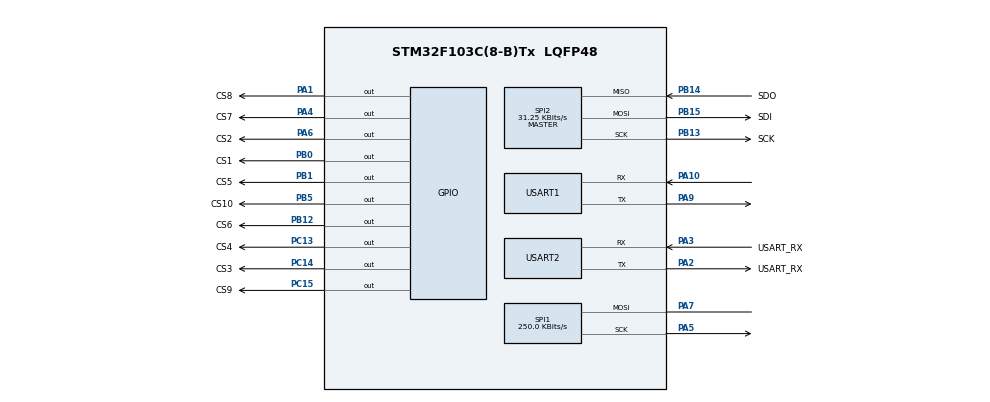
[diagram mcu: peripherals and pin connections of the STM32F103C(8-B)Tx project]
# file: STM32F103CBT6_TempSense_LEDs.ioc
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Mcu.Family=STM32F1
Mcu.Name=STM32F103C(8-B)Tx
Mcu.Package=LQFP48
NVIC.PriorityGroup=NVIC_PRIORITYGROUP_4
PA1.GPIO_Label=CS8
PA1.Signal=GPIO_Output
PA10.Mode=Asynchronous
PA10.Signal=USART1_RX
PA13.Mode=Serial_Wire
PA13.Signal=SYS_JTMS-SWDIO
PA14.Mode=Serial_Wire
PA14.Signal=SYS_JTCK-SWCLK
PA2.GPIO_Label=USART_RX
PA2.Mode=Asynchronous
PA2.Signal=USART2_TX
PA3.GPIO_Label=USART_RX
PA3.Mode=Asynchronous
PA3.Signal=USART2_RX
PA4.GPIO_Label=CS7
PA4.Signal=GPIO_Output
PA5.Mode=Simplex_Bidirectional_Master
PA5.Signal=SPI1_SCK
PA6.GPIO_Label=CS2
PA6.Signal=GPIO_Output
PA7.Mode=Simplex_Bidirectional_Master
PA7.Signal=SPI1_MOSI
PA9.Mode=Asynchronous
PA9.Signal=USART1_TX
PB0.GPIO_Label=CS1
PB0.Signal=GPIO_Output
PB1.GPIO_Label=CS5
PB1.Signal=GPIO_Output
PB12.GPIO_Label=CS6
PB12.Signal=GPIO_Output
PB13.GPIO_Label=SCK
PB13.Mode=Full_Duplex_Master
PB13.Signal=SPI2_SCK
PB14.GPIO_Label=SDO
PB14.Mode=Full_Duplex_Master
PB14.Signal=SPI2_MISO
PB15.GPIO_Label=SDI
PB15.Mode=Full_Duplex_Master
PB15.Signal=SPI2_MOSI
PB5.GPIO_Label=CS10
PB5.Signal=GPIO_Output
PC13-TAMPER-RTC.GPIO_Label=CS4
PC13-TAMPER-RTC.Signal=GPIO_Output
PC14-OSC32_IN.GPIO_Label=CS3
PC14-OSC32_IN.Signal=GPIO_Output
PC15-OSC32_OUT.GPIO_Label=CS9
PC15-OSC32_OUT.Signal=GPIO_Output
ProjectManager.HeapSize=0x200
ProjectManager.StackSize=0x400
ProjectManager.TargetToolchain=MDK-ARM V5
RCC.APB1Freq_Value=8000000
RCC.APB2Freq_Value=8000000
SPI1.BaudRatePrescaler=SPI_BAUDRATEPRESCALER_32
SPI1.CLKPhase=SPI_PHASE_2EDGE
SPI1.CLKPolarity=SPI_POLARITY_HIGH
SPI1.CalculateBaudRate=250.0 KBits/s
SPI1.Direction=SPI_DIRECTION_1LINE
SPI1.Mode=SPI_MODE_MASTER
SPI1.VirtualType=VM_MASTER
SPI2.BaudRatePrescaler=SPI_BAUDRATEPRESCALER_256
SPI2.CLKPhase=SPI_PHASE_2EDGE
SPI2.CLKPolarity=SPI_POLARITY_HIGH
SPI2.CalculateBaudRate=31.25 KBits/s
SPI2.Direction=SPI_DIRECTION_2LINES
SPI2.Mode=SPI_MODE_MASTER
SPI2.VirtualType=VM_MASTER
USART1.VirtualMode=VM_ASYNC
USART2.VirtualMode=VM_ASYNC
board=STM32F103CBT6_TempSense_LEDs

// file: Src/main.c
/**
  ******************************************************************************
  * File Name          : main.c
  * Description        : Main program body
  ******************************************************************************
  ** This notice applies to any and all portions of this file
  * that are not between comment pairs USER CODE BEGIN and
  * USER CODE END. Other portions of this file, whether
  * inserted by the user or by software development tools
  * are owned by their respective copyright owners.
  *
  * COPYRIGHT(c) 2017 STMicroelectronics
  *
  * Redistribution and use in source and binary forms, with or without modification,
  * are permitted provided that the following conditions are met:
  *   1. Redistributions of source code must retain the above copyright notice,
  *      this list of conditions and the following disclaimer.
  *   2. Redistributions in binary form must reproduce the above copyright notice,
  *      this list of conditions and the following disclaimer in the documentation
  *      and/or other materials provided with the distribution.
  *   3. Neither the name of STMicroelectronics nor the names of its contributors
  *      may be used to endorse or promote products derived from this software
  *      without specific prior written permission.
  *
  * THIS SOFTWARE IS PROVIDED BY THE COPYRIGHT HOLDERS AND CONTRIBUTORS "AS IS"
  * AND ANY EXPRESS OR IMPLIED WARRANTIES, INCLUDING, BUT NOT LIMITED TO, THE
  * IMPLIED WARRANTIES OF MERCHANTABILITY AND FITNESS FOR A PARTICULAR PURPOSE ARE
  * DISCLAIMED. IN NO EVENT SHALL THE COPYRIGHT HOLDER OR CONTRIBUTORS BE LIABLE
  * FOR ANY DIRECT, INDIRECT, INCIDENTAL, SPECIAL, EXEMPLARY, OR CONSEQUENTIAL
  * DAMAGES (INCLUDING, BUT NOT LIMITED TO, PROCUREMENT OF SUBSTITUTE GOODS OR
  * SERVICES; LOSS OF USE, DATA, OR PROFITS; OR BUSINESS INTERRUPTION) HOWEVER
  * CAUSED AND ON ANY THEORY OF LIABILITY, WHETHER IN CONTRACT, STRICT LIABILITY,
  * OR TORT (INCLUDING NEGLIGENCE OR OTHERWISE) ARISING IN ANY WAY OUT OF THE USE
  * OF THIS SOFTWARE, EVEN IF ADVISED OF THE POSSIBILITY OF SUCH DAMAGE.
  *
  ******************************************************************************
  */
#include "main.h"
#include "stm32f1xx_hal.h"
#include "string.h"
#include <math.h>

/* USER CODE BEGIN Includes */

#define LEDred_GPIO_CLK_ENABLE()           __HAL_RCC_GPIOA_CLK_ENABLE()

/* USER CODE BEGIN Includes */
/* Macros to enable & disable CS pin */
//#define CS_ENABLE		do { HAL_GPIO_WritePin(GPIOA, GPIO_PIN_10, GPIO_PIN_RESET); } while(0);
//#define CS_DISABLE		do { HAL_GPIO_WritePin(GPIOA, GPIO_PIN_10, GPIO_PIN_SET); } while(0);

/* SPI TIMEOUT Value*/
#define TIMEOUT_VAL 60

// The value of the Rref resistor in Ohm
#define RREF 470000
//#define RREF 15000

/* Read Register Address */
#define REG_CONFIG                  0x00
#define REG_RTD_MSB                 0x01
#define REG_RTD_LSB                 0x02
#define REG_HIGH_FAULT_THR_MSB      0x03
#define REG_HIGH_FAULT_THR_LSB      0x04
#define REG_LOW_FAULT_THR_MSB       0x05
#define REG_LOW_FAULT_THR_LSB       0x06
#define REG_FAULT_STATUS            0x07
#define WR(reg)                     ( (reg) | 0x80 )
/* USER CODE END Includes */

SPI_HandleTypeDef hspi1;
SPI_HandleTypeDef hspi2;

UART_HandleTypeDef huart1;
UART_HandleTypeDef huart2;

/* USER CODE BEGIN PV */
/* Private variables ---------------------------------------------------------*/
struct __attribute__((packed)) var_max31865
{
  uint16_t rtd_res_raw;			// RTD IC raw resistance register
  uint8_t  status;					// RTD status - full status code
  uint8_t  conf_reg;				// Configuration register readout
  uint16_t  HFT_val;				// High fault threshold register readout
  uint16_t  LFT_val;				// Low fault threshold register readout
};

struct var_max31865 rtd_data;
uint8_t read_addr = 0x00; //Read address of Configuration register

/*variables of resistance and temperature*/
double resistanceRTD;
double tmp;

/*register to initiate SPI*/
uint8_t config_reg_write[] = {WR(REG_CONFIG), 0xC2};

/*arrays to print values in for resistance and temperature*/
char Rrtd[30]; //array to print RTD resistance
char Trtd[30]; //array to print RTD temperature
char Stop[30]; //indicates all is read
char SlaveOutput[80]; //bits from SPI slave

/*ChipSelect pins and ports*/
GPIO_TypeDef* CS_GPIO_Port[10]={CS1_GPIO_Port, CS2_GPIO_Port,CS3_GPIO_Port,CS4_GPIO_Port,CS5_GPIO_Port,CS6_GPIO_Port,CS7_GPIO_Port,CS8_GPIO_Port,CS9_GPIO_Port,CS10_GPIO_Port};
uint16_t CS_Pin[10]={CS1_Pin,CS2_Pin,CS3_Pin,CS4_Pin,CS5_Pin,CS6_Pin,CS7_Pin,CS8_Pin,CS9_Pin,CS10_Pin};

/*SPI LEDs*/
uint8_t lightAllLeds [28] ={0x96, 0xDF, 0xFF, 0xFF, 0x20, 0xFF, 0x20, 0xFF, 0x20, 0xFF, 0x20, 0xFF, 0x20, 0xFF, 0x20, 0xFF, 0x20, 0xFF, 0x20, 0xFF, 0x20, 0xFF, 0x20, 0xFF, 0x20, 0xFF,0x20,0xFF};
uint8_t lightNoLeds [28] ={0x96, 0xDF, 0xFF, 0xFF,0,0,0,0,0,0,0,0,0,0,0,0,0,0,0,0,0,0,0,0,0,0,0,0};
uint8_t LEDinit [28];// ={0x96, 0xDF, 0xFF, 0xFF,0,0,0,0,0,0,0,0,0,0,0,0,0,0,0,0,0,0,0,0,0,0,0,0};

		char MSG[30];
		char debug[30];
/* USER CODE END PV */

void SystemClock_Config(void);
static void MX_GPIO_Init(void);
static void MX_SPI2_Init(void);
static void MX_USART2_UART_Init(void);
static void MX_SPI1_Init(void);
static void MX_USART1_UART_Init(void);
static GPIO_InitTypeDef  GPIO_InitStruct;
void debug_array(uint8_t *LEDinit);

/* USER CODE BEGIN PFP */
/* Private function prototypes -----------------------------------------------*/
void CS_ENABLE(GPIO_TypeDef* CS_GPIO_Port, uint16_t CS_Pin);
void CS_DISABLE(GPIO_TypeDef* CS_GPIO_Port, uint16_t CS_Pin);
void configureSPI(GPIO_TypeDef* CS_GPIO_Port, uint16_t CS_Pin);
void MAX31865_full_read(GPIO_TypeDef* CS_GPIO_Port, uint16_t CS_Pin, int LED, uint8_t *LEDinit);

/* USER CODE END PFP */

/* USER CODE BEGIN 0 */

/* Functions to en- and disable the CS_Pin from Port and Pin */
void CS_ENABLE(GPIO_TypeDef* CS_GPIO_Port, uint16_t CS_Pin)
{
  HAL_GPIO_WritePin(CS_GPIO_Port, CS_Pin, GPIO_PIN_RESET);
}

void CS_DISABLE(GPIO_TypeDef* CS_GPIO_Port, uint16_t CS_Pin)
{
  HAL_GPIO_WritePin(CS_GPIO_Port, CS_Pin, GPIO_PIN_SET);
}

/* Function to configure and initiate SPI */

void configureSPI(GPIO_TypeDef* CS_GPIO_Port, uint16_t CS_Pin)
{
 /* (1) : SPI Transmit, write to config reg on address 0x80 */
  // Step(1): Bring the CS pin low to activate the slave device
  CS_ENABLE(CS_GPIO_Port, CS_Pin);
  HAL_Delay(10); //This delay is very important in the case of STM32F334 in order to work with MAX31865
  // Step(2): Transmit config reg address  & data
  HAL_SPI_Transmit(&hspi2, &config_reg_write[0], 1, TIMEOUT_VAL);
  HAL_SPI_Transmit(&hspi2, &config_reg_write[1], 1, TIMEOUT_VAL);
  // Step(3): Bring the CS pin high again
  CS_DISABLE(CS_GPIO_Port, CS_Pin);
}

/* Function to unpack and store MAX31865 data */

void MAX31865_full_read(GPIO_TypeDef* CS_GPIO_Port, uint16_t CS_Pin, int LED, uint8_t *LEDinit)
{
	uint8_t read_data[8]={0,0,0,0,0,0,0,0}; //variable to store the contents of the registers
	uint8_t i = 0; //loop variable

	// Step(1): Bring the CS pin low to activate the slave device
	CS_ENABLE(CS_GPIO_Port, CS_Pin);
	// Step(2): Transmit config reg address telling IC that we want to 'read' and start at register 0
		HAL_SPI_Transmit(&hspi2, &read_addr, 1, TIMEOUT_VAL);
	/* Step (3): Receive the first 8 bits (Config reg data) */
	for(i = 0; i < 8; i++)
	{
		HAL_SPI_Receive(&hspi2, &read_data[i], 1, TIMEOUT_VAL);
	}
	// Step(4): Bring the CS pin high again
	CS_DISABLE( CS_GPIO_Port, CS_Pin);
	/* Step (5): Store the data read from the sensor */
	rtd_data.conf_reg = read_data[0]; //Store config reg data
	rtd_data.rtd_res_raw = ((read_data[1] << 8) | read_data[2]) >> 1; // Store rtd_res_raw
	rtd_data.HFT_val = ((read_data[3] << 8) | read_data[4]) >> 1; // Store HFT_val
	rtd_data.LFT_val = (read_data[5] << 8) | read_data[6]; // Store LFT_val
	rtd_data.status = read_data[7]; //Store fault status reg data

	sprintf(SlaveOutput, "\n\r0 %u\n\r1 %u\n\r2 %u\n\r3 %u\n\r4 %u\n\r5 %u\n\r6 %u\n\r7 %u\n\r", read_data[0],read_data[1],read_data[2],read_data[3],read_data[4],read_data[5],read_data[6],read_data[7]);
    HAL_UART_Transmit(&huart1, (uint8_t *)SlaveOutput, 80, TIMEOUT_VAL);

	/*Enable LED if thermistor is connected*/
	LED=9-LED;
	if (rtd_data.status < 128 ||rtd_data.rtd_res_raw < 32767 && rtd_data.rtd_res_raw > 0)
		{
	LEDinit[27-LED*2]= 0xFF;
	LEDinit[26-LED*2]= 0x20;
	HAL_SPI_Transmit(&hspi1, LEDinit, 28, 10);
		}
	else if (rtd_data.status >= 128||rtd_data.rtd_res_raw >= 32767 && rtd_data.rtd_res_raw == 0)
		{
	LEDinit[27-LED*2] = 0;
	LEDinit[26-LED*2] = 0;
	HAL_SPI_Transmit(&hspi1, LEDinit, 28, 10);
		}

  /* calculate RTD resistance */
	//5143.92 as offset for 470k resistor
	    resistanceRTD = /*5143.92+*/((double)rtd_data.rtd_res_raw * RREF) / 32768; // Replace 4000 by 400 for PT100
		sprintf(Rrtd, "\n\r%u: \n\rRrtd = %lf\n\r", CS_Pin, resistanceRTD);
    HAL_UART_Transmit(&huart1, (uint8_t *)Rrtd, 30, TIMEOUT_VAL); // print RTD resistance

		sprintf(Rrtd, "RAW = %lf\n\r", (double)rtd_data.rtd_res_raw);
		HAL_UART_Transmit(&huart1, (uint8_t *)Rrtd, 30, TIMEOUT_VAL); // print RTD resistance

	/* calculate RTD temperature (simple calc, +/- 2 deg C from -100C to 100C) */
    /* CALCULATION OF TEMP MUST BE ADJUSTED TO RTD  */
  //  tmp = ((double)rtd_data.rtd_res_raw / 32) - 256;
	tmp=1/(((log(/*(double)rtd_data.rtd_res_raw*/ resistanceRTD / 10000))/3435)+(1/298.15));
	tmp=tmp-273.15;
	// http://www.giangrandi.ch/electronics/ntc/ntc.shtml
	//http://www.carelparts.com/manuals/ntc-specs.pdf page 8
		sprintf(Trtd, "Trtd = %lf\n\r", tmp);
    HAL_UART_Transmit(&huart1, (uint8_t *)Trtd, 30, TIMEOUT_VAL); // print RTD temperature

	//HAL_Delay(200);
}

/* USER CODE END 0 */

int main(void)
{

  /* MCU Configuration----------------------------------------------------------*/

  /* Reset of all peripherals, Initializes the Flash interface and the Systick. */
  HAL_Init();

  /* Configure the system clock */
  SystemClock_Config();

  /* -1- Enable GPIO Clock (to be able to program the configuration registers) */
  LEDred_GPIO_CLK_ENABLE();

  /* Initialize all configured peripherals */
  MX_GPIO_Init();
  MX_SPI2_Init();
  MX_USART2_UART_Init();
  MX_SPI1_Init();
  MX_USART1_UART_Init();

  /* -2- Configure IO in output push-pull mode to drive external LEDs */
  GPIO_InitStruct.Mode  = GPIO_MODE_OUTPUT_PP;
  GPIO_InitStruct.Pull  = GPIO_PULLUP;
  GPIO_InitStruct.Speed = GPIO_SPEED_FREQ_HIGH;

  GPIO_InitStruct.Pin = GPIO_PIN_0;
  HAL_GPIO_Init(GPIOA, &GPIO_InitStruct);
  /* USER CODE BEGIN 2 */

for(int conf=0;conf< 10;conf++)
	{
	configureSPI(CS_GPIO_Port[conf],CS_Pin[conf]);
	//HAL_Delay(50);

	}
	// give the sensor time to set up
  HAL_Delay(1000);
  /* USER CODE END 2 */

  /* Infinite loop */
  /* USER CODE BEGIN WHILE */
	char *msg = "Initiating Temperature measurement\n\r";

  uint8_t	LEDinit [28] ={0x96, 0xDF, 0xFF, 0xFF,0,0,0,0,0,0,0,0,0,0,0,0,0,0,0,0,0,0,0,0,0,0,0,0};
	HAL_SPI_Transmit(&hspi1, lightAllLeds, 28, 10);

  while (1)
  {
  /* USER CODE END WHILE */
		HAL_UART_Transmit(&huart1, (uint8_t*)msg, strlen(msg), 0xFFFF);

		HAL_GPIO_TogglePin(GPIOA, GPIO_PIN_0);
    HAL_Delay(50);
		HAL_GPIO_TogglePin(GPIOA, GPIO_PIN_0);
		HAL_Delay(50);
		HAL_GPIO_TogglePin(GPIOA, GPIO_PIN_0);
		HAL_Delay(50);
		HAL_GPIO_TogglePin(GPIOA, GPIO_PIN_0);

/* USER CODE BEGIN 3 */
	for(int read= 0;read< 10;read++)
		{
		MAX31865_full_read(CS_GPIO_Port[read],CS_Pin[read],read,LEDinit);

		}
	//HAL_Delay(200);
	sprintf(Stop, "Reading done\n\r");
	HAL_UART_Transmit(&huart1, (uint8_t *)Stop, 30, TIMEOUT_VAL);
	//HAL_Delay(200);
  }
  /* USER CODE END 3 */

}

/** System Clock Configuration
*/
void SystemClock_Config(void)
{

  RCC_OscInitTypeDef RCC_OscInitStruct;
  RCC_ClkInitTypeDef RCC_ClkInitStruct;

    /**Initializes the CPU, AHB and APB busses clocks
    */
  RCC_OscInitStruct.OscillatorType = RCC_OSCILLATORTYPE_HSI;
  RCC_OscInitStruct.HSIState = RCC_HSI_ON;
  RCC_OscInitStruct.HSICalibrationValue = 16;
  RCC_OscInitStruct.PLL.PLLState = RCC_PLL_NONE;
  if (HAL_RCC_OscConfig(&RCC_OscInitStruct) != HAL_OK)
  {
    _Error_Handler(__FILE__, __LINE__);
  }

    /**Initializes the CPU, AHB and APB busses clocks
    */
  RCC_ClkInitStruct.ClockType = RCC_CLOCKTYPE_HCLK|RCC_CLOCKTYPE_SYSCLK
                              |RCC_CLOCKTYPE_PCLK1|RCC_CLOCKTYPE_PCLK2;
  RCC_ClkInitStruct.SYSCLKSource = RCC_SYSCLKSOURCE_HSI;
  RCC_ClkInitStruct.AHBCLKDivider = RCC_SYSCLK_DIV1;
  RCC_ClkInitStruct.APB1CLKDivider = RCC_HCLK_DIV1;
  RCC_ClkInitStruct.APB2CLKDivider = RCC_HCLK_DIV1;

  if (HAL_RCC_ClockConfig(&RCC_ClkInitStruct, FLASH_LATENCY_0) != HAL_OK)
  {
    _Error_Handler(__FILE__, __LINE__);
  }

    /**Configure the Systick interrupt time
    */
  HAL_SYSTICK_Config(HAL_RCC_GetHCLKFreq()/1000);

    /**Configure the Systick
    */
  HAL_SYSTICK_CLKSourceConfig(SYSTICK_CLKSOURCE_HCLK);

  /* SysTick_IRQn interrupt configuration */
  HAL_NVIC_SetPriority(SysTick_IRQn, 0, 0);
}

/* SPI1 init function */
static void MX_SPI1_Init(void)
{

  hspi1.Instance = SPI1;
  hspi1.Init.Mode = SPI_MODE_MASTER;
  hspi1.Init.Direction = SPI_DIRECTION_1LINE;
  hspi1.Init.DataSize = SPI_DATASIZE_8BIT;
  hspi1.Init.CLKPolarity = SPI_POLARITY_HIGH;
  hspi1.Init.CLKPhase = SPI_PHASE_2EDGE;
  hspi1.Init.NSS = SPI_NSS_SOFT;
  hspi1.Init.BaudRatePrescaler = SPI_BAUDRATEPRESCALER_32;
  hspi1.Init.FirstBit = SPI_FIRSTBIT_MSB;
  hspi1.Init.TIMode = SPI_TIMODE_DISABLE;
  hspi1.Init.CRCCalculation = SPI_CRCCALCULATION_DISABLE;
  hspi1.Init.CRCPolynomial = 10;
  if (HAL_SPI_Init(&hspi1) != HAL_OK)
  {
    _Error_Handler(__FILE__, __LINE__);
  }

}

/* SPI2 init function */
static void MX_SPI2_Init(void)
{

  hspi2.Instance = SPI2;
  hspi2.Init.Mode = SPI_MODE_MASTER;
  hspi2.Init.Direction = SPI_DIRECTION_2LINES;
  hspi2.Init.DataSize = SPI_DATASIZE_8BIT;
  hspi2.Init.CLKPolarity = SPI_POLARITY_HIGH;
  hspi2.Init.CLKPhase = SPI_PHASE_2EDGE;
  hspi2.Init.NSS = SPI_NSS_SOFT;
  hspi2.Init.BaudRatePrescaler = SPI_BAUDRATEPRESCALER_256;
  hspi2.Init.FirstBit = SPI_FIRSTBIT_MSB;
  hspi2.Init.TIMode = SPI_TIMODE_DISABLE;
  hspi2.Init.CRCCalculation = SPI_CRCCALCULATION_DISABLE;
  hspi2.Init.CRCPolynomial = 10;
  if (HAL_SPI_Init(&hspi2) != HAL_OK)
  {
    _Error_Handler(__FILE__, __LINE__);
  }

}

/* USART1 init function */
static void MX_USART1_UART_Init(void)
{

  huart1.Instance = USART1;
  huart1.Init.BaudRate = 115200;
  huart1.Init.WordLength = UART_WORDLENGTH_8B;
  huart1.Init.StopBits = UART_STOPBITS_1;
  huart1.Init.Parity = UART_PARITY_NONE;
  huart1.Init.Mode = UART_MODE_TX_RX;
  huart1.Init.HwFlowCtl = UART_HWCONTROL_NONE;
  huart1.Init.OverSampling = UART_OVERSAMPLING_16;
  if (HAL_UART_Init(&huart1) != HAL_OK)
  {
    _Error_Handler(__FILE__, __LINE__);
  }

}

/* USART2 init function */
static void MX_USART2_UART_Init(void)
{

  huart2.Instance = USART2;
  huart2.Init.BaudRate = 115200;
  huart2.Init.WordLength = UART_WORDLENGTH_8B;
  huart2.Init.StopBits = UART_STOPBITS_1;
  huart2.Init.Parity = UART_PARITY_NONE;
  huart2.Init.Mode = UART_MODE_TX_RX;
  huart2.Init.HwFlowCtl = UART_HWCONTROL_NONE;
  huart2.Init.OverSampling = UART_OVERSAMPLING_16;
  if (HAL_UART_Init(&huart2) != HAL_OK)
  {
    _Error_Handler(__FILE__, __LINE__);
  }

}

/** Configure pins as
        * Analog
        * Input
        * Output
        * EVENT_OUT
        * EXTI
*/
static void MX_GPIO_Init(void)
{

  GPIO_InitTypeDef GPIO_InitStruct;

  /* GPIO Ports Clock Enable */
  __HAL_RCC_GPIOC_CLK_ENABLE();
  __HAL_RCC_GPIOA_CLK_ENABLE();
  __HAL_RCC_GPIOB_CLK_ENABLE();

  /*Configure GPIO pin Output Level */
  HAL_GPIO_WritePin(GPIOC, CS4_Pin|CS3_Pin|CS9_Pin, GPIO_PIN_RESET);

  /*Configure GPIO pin Output Level */
  HAL_GPIO_WritePin(GPIOA, CS8_Pin|CS7_Pin|CS2_Pin, GPIO_PIN_RESET);

/*Configure GPIO pin Output Level */
  HAL_GPIO_WritePin(GPIOA, LEDred_Pin, GPIO_PIN_RESET);

  /*Configure GPIO pin : LEDred_Pin */
  GPIO_InitStruct.Pin = LEDred_Pin;

  /*Configure GPIO pin Output Level */
  HAL_GPIO_WritePin(GPIOB, CS1_Pin|CS5_Pin|CS6_Pin|CS10_Pin, GPIO_PIN_RESET);

  /*Configure GPIO pins : CS4_Pin CS3_Pin CS9_Pin */
  GPIO_InitStruct.Pin = CS4_Pin|CS3_Pin|CS9_Pin;
  GPIO_InitStruct.Mode = GPIO_MODE_OUTPUT_PP;
  GPIO_InitStruct.Speed = GPIO_SPEED_FREQ_LOW;
  HAL_GPIO_Init(GPIOC, &GPIO_InitStruct);

  /*Configure GPIO pins : CS8_Pin CS7_Pin CS2_Pin */
  GPIO_InitStruct.Pin = CS8_Pin|CS7_Pin|CS2_Pin;
  GPIO_InitStruct.Mode = GPIO_MODE_OUTPUT_PP;
  GPIO_InitStruct.Speed = GPIO_SPEED_FREQ_LOW;
  HAL_GPIO_Init(GPIOA, &GPIO_InitStruct);

  /*Configure GPIO pins : CS1_Pin CS5_Pin CS6_Pin CS10_Pin */
  GPIO_InitStruct.Pin = CS1_Pin|CS5_Pin|CS6_Pin|CS10_Pin;
  GPIO_InitStruct.Mode = GPIO_MODE_OUTPUT_PP;
  GPIO_InitStruct.Speed = GPIO_SPEED_FREQ_LOW;
  HAL_GPIO_Init(GPIOB, &GPIO_InitStruct);

}

void _Error_Handler(char * file, int line)
{
  while(1)
  {
  }
}

/************************ (C) COPYRIGHT STMicroelectronics *****END OF FILE****/
